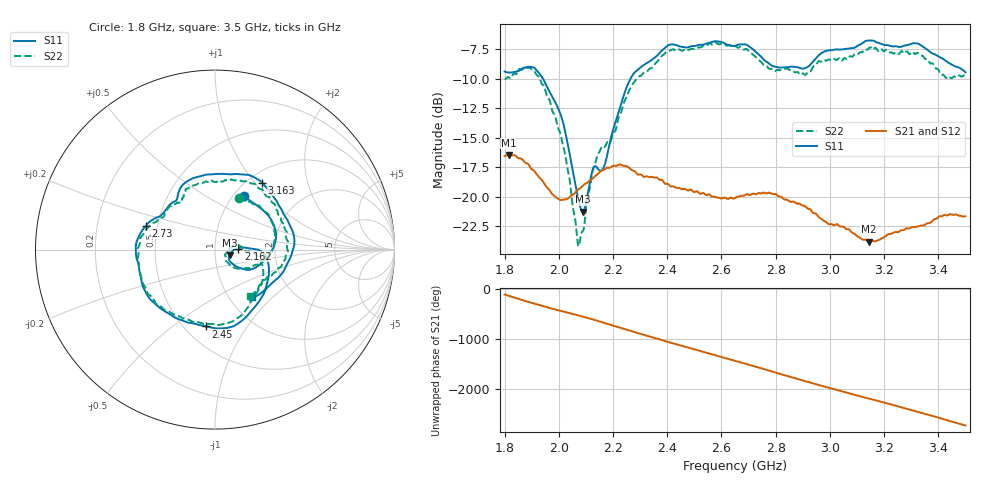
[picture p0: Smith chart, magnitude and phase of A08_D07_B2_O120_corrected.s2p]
! Created with skrf 1.9.0 (http://scikit-rf.org).
# Hz S RI R 50.0
!freq ReS11 ImS11 ReS21 ImS21 ReS12 ImS12 ReS22 ImS22
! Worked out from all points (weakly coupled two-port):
!   1601 points, 1.8 GHz to 3.5 GHz, reference 50 ohm
!   highest |S21| = -16.46 dB at 1.816 GHz (marker M1); lowest = -23.8 dB at 3.143 GHz (marker M2)
!   lowest |S11| = -21.3 dB at 2.09 GHz (marker M3), VSWR 1.19, Z = 58.7 - j3.56 ohm
!   |S11| at or under -10 dB: 1.941 GHz to 2.265 GHz (323.1 MHz wide, 15.4 % of centre)
!   |S22| runs from -24.2 to -7.0 dB; largest |S21 - S12| = 0.0029
!   S11 on the Smith chart (normalised r, x): 1.8 GHz: 1.13, +0.75; 2.162 GHz: 1.30, +0.01; 2.45 GHz: 0.63, -0.66; 2.73 GHz: 0.43, +0.14; 3.163 GHz: 1.16, +1.09; 3.5 GHz: 1.27, -0.76
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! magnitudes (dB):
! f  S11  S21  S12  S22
! 1.8 GHz  -9.4  -16.6  -16.6  -10.0
! 1.816 GHz  -9.5  -16.5  -16.5  -9.9
! 1.88 GHz  -9.0  -17.2  -17.2  -9.1
! 1.943 GHz  -10.1  -18.8  -18.8  -10.6
! 2.013 GHz  -13.5  -20.3  -20.3  -15.4
! 2.069 GHz  -19.8  -19.4  -19.5  -23.8
! 2.084 GHz  -21.1  -19.2  -19.1  -23.1
! 2.09 GHz  -21.3  -19.0  -19.1  -22.8
! 2.127 GHz  -17.6  -18.4  -18.4  -17.6
! 2.162 GHz  -17.7  -17.7  -17.7  -15.7
! 2.261 GHz  -10.2  -17.6  -17.6  -10.9
! 2.367 GHz  -7.9  -18.5  -18.4  -8.4
! 2.45 GHz  -7.3  -19.3  -19.3  -7.6
! 2.65 GHz  -7.2  -20.1  -20.1  -7.3
! 2.73 GHz  -7.8  -19.8  -19.8  -8.3
! 2.807 GHz  -9.0  -19.9  -19.9  -9.3
! 2.934 GHz  -8.7  -21.2  -21.2  -9.2
! 3.143 GHz  -6.8  -23.8  -23.7  -7.5
! 3.163 GHz  -6.8  -23.8  -23.7  -7.5
! 3.217 GHz  -7.2  -23.1  -23.1  -7.8
! 3.326 GHz  -7.1  -22.5  -22.5  -7.9
! 3.5 GHz  -9.5  -21.6  -21.6  -9.8
